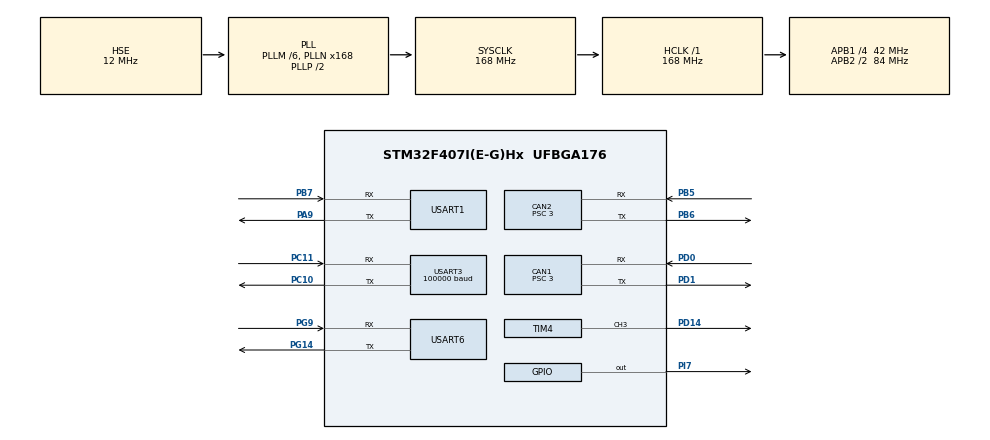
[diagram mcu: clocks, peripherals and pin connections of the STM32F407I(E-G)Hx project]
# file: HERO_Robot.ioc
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CAN1.ABOM=ENABLE
CAN1.BS1=CAN_BS1_5TQ
CAN1.BS2=CAN_BS2_8TQ
CAN1.CalculateBaudRate=1000000
CAN1.CalculateTimeBit=999.99
CAN1.CalculateTimeQuantum=71.42857142857143
CAN1.Prescaler=3
CAN1.RFLM=ENABLE
CAN2.ABOM=ENABLE
CAN2.BS1=CAN_BS1_5TQ
CAN2.BS2=CAN_BS2_8TQ
CAN2.CalculateBaudRate=1000000
CAN2.CalculateTimeBit=999.99
CAN2.CalculateTimeQuantum=71.42857142857143
CAN2.Prescaler=3
CAN2.RFLM=ENABLE
Dma.Request0=USART3_RX
Dma.Request1=USART1_RX
Dma.USART1_RX.1.Direction=DMA_PERIPH_TO_MEMORY
Dma.USART1_RX.1.FIFOMode=DMA_FIFOMODE_DISABLE
Dma.USART1_RX.1.Instance=DMA2_Stream2
Dma.USART1_RX.1.MemDataAlignment=DMA_MDATAALIGN_BYTE
Dma.USART1_RX.1.MemInc=DMA_MINC_ENABLE
Dma.USART1_RX.1.Mode=DMA_CIRCULAR
Dma.USART1_RX.1.PeriphDataAlignment=DMA_PDATAALIGN_BYTE
Dma.USART1_RX.1.PeriphInc=DMA_PINC_DISABLE
Dma.USART1_RX.1.Priority=DMA_PRIORITY_LOW
Dma.USART3_RX.0.Direction=DMA_PERIPH_TO_MEMORY
Dma.USART3_RX.0.FIFOMode=DMA_FIFOMODE_DISABLE
Dma.USART3_RX.0.Instance=DMA1_Stream1
Dma.USART3_RX.0.MemDataAlignment=DMA_MDATAALIGN_BYTE
Dma.USART3_RX.0.MemInc=DMA_MINC_ENABLE
Dma.USART3_RX.0.Mode=DMA_CIRCULAR
Dma.USART3_RX.0.PeriphDataAlignment=DMA_PDATAALIGN_BYTE
Dma.USART3_RX.0.PeriphInc=DMA_PINC_DISABLE
Dma.USART3_RX.0.Priority=DMA_PRIORITY_LOW
Mcu.Family=STM32F4
Mcu.Name=STM32F407I(E-G)Hx
Mcu.Package=UFBGA176
NVIC.CAN1_RX0_IRQn=true\:0\:0\:false\:false\:true\:true\:true
NVIC.CAN2_RX0_IRQn=true\:0\:0\:false\:false\:true\:true\:true
NVIC.DMA1_Stream1_IRQn=true\:0\:0\:false\:false\:true\:false\:true
NVIC.DMA2_Stream2_IRQn=true\:0\:0\:false\:false\:true\:false\:true
NVIC.PriorityGroup=NVIC_PRIORITYGROUP_4
NVIC.TIM2_IRQn=true\:2\:0\:true\:false\:true\:true\:true
NVIC.TIM3_IRQn=true\:1\:0\:true\:false\:true\:true\:true
NVIC.USART1_IRQn=true\:2\:0\:true\:false\:true\:true\:true
NVIC.USART3_IRQn=true\:0\:0\:false\:false\:true\:true\:true
PA9.Mode=Asynchronous
PA9.Signal=USART1_TX
PB5.Mode=CAN_Activate
PB5.Signal=CAN2_RX
PB6.Mode=CAN_Activate
PB6.Signal=CAN2_TX
PB7.Mode=Asynchronous
PB7.Signal=USART1_RX
PC10.Mode=Asynchronous
PC10.Signal=USART3_TX
PC11.Mode=Asynchronous
PC11.Signal=USART3_RX
PD0.Mode=CAN_Activate
PD0.Signal=CAN1_RX
PD1.Mode=CAN_Activate
PD1.Signal=CAN1_TX
PD14.Signal=S_TIM4_CH3
PG14.Mode=Asynchronous
PG14.Signal=USART6_TX
PG9.Mode=Asynchronous
PG9.Signal=USART6_RX
PH0-OSC_IN.Mode=HSE-External-Oscillator
PH0-OSC_IN.Signal=RCC_OSC_IN
PH1-OSC_OUT.Mode=HSE-External-Oscillator
PH1-OSC_OUT.Signal=RCC_OSC_OUT
PI7.Signal=GPIO_Output
ProjectManager.HeapSize=0x200
ProjectManager.StackSize=0x400
ProjectManager.TargetToolchain=MDK-ARM V5.32
RCC.48MHZClocksFreq_Value=84000000
RCC.AHBFreq_Value=168000000
RCC.APB1CLKDivider=RCC_HCLK_DIV4
RCC.APB1Freq_Value=42000000
RCC.APB1TimFreq_Value=84000000
RCC.APB2CLKDivider=RCC_HCLK_DIV2
RCC.APB2Freq_Value=84000000
RCC.APB2TimFreq_Value=168000000
RCC.CortexFreq_Value=168000000
RCC.HCLKFreq_Value=168000000
RCC.HSE_VALUE=12000000
RCC.HSI_VALUE=16000000
RCC.LSE_VALUE=32768
RCC.PLLM=6
RCC.PLLN=168
RCC.PLLSourceVirtual=RCC_PLLSOURCE_HSE
RCC.SYSCLKFreq_VALUE=168000000
RCC.SYSCLKSource=RCC_SYSCLKSOURCE_PLLCLK
RCC.VCOOutputFreq_Value=336000000
SH.S_TIM4_CH3.0=TIM4_CH3,PWM Generation3 CH3
TIM2.Period=2000-1
TIM2.Prescaler=84-1
TIM3.Period=5000-1
TIM3.Prescaler=168-1
TIM4.Channel-PWM\ Generation3\ CH3=TIM_CHANNEL_3
TIM4.Period=250-1
TIM4.Prescaler=84-1
USART1.VirtualMode=VM_ASYNC
USART3.BaudRate=100000
USART3.Parity=PARITY_EVEN
USART3.VirtualMode=VM_ASYNC
USART3.WordLength=WORDLENGTH_9B
USART6.VirtualMode=VM_ASYNC
VP_TIM2_VS_ClockSourceINT.Mode=Internal
VP_TIM3_VS_ClockSourceINT.Mode=Internal
VP_TIM4_VS_ClockSourceINT.Mode=Internal
board=custom

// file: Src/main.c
/* USER CODE BEGIN Header */
/**
  ******************************************************************************
  * @file           : main.c
  * @brief          : Main program body
  ******************************************************************************
  * @attention
  *
  * <h2><center>&copy; Copyright (c) 2022 STMicroelectronics.
  * All rights reserved.</center></h2>
  *
  * This software component is licensed by ST under BSD 3-Clause license,
  * the "License"; You may not use this file except in compliance with the
  * License. You may obtain a copy of the License at:
  *                        opensource.org/licenses/BSD-3-Clause
  *
  ******************************************************************************
  */
/* USER CODE END Header */
#include "main.h"

/* USER CODE BEGIN Includes */
#include "drv_can.h"
#include "drv_usart.h"
#include "oscilloscope.h"
#include "dr16.h"
#include "pid.h"
#include "jy901s.h"
/* USER CODE END Includes */

CAN_HandleTypeDef hcan1;
CAN_HandleTypeDef hcan2;

TIM_HandleTypeDef htim2;
TIM_HandleTypeDef htim3;
TIM_HandleTypeDef htim4;

UART_HandleTypeDef huart1;
UART_HandleTypeDef huart3;
UART_HandleTypeDef huart6;
DMA_HandleTypeDef hdma_usart1_rx;
DMA_HandleTypeDef hdma_usart3_rx;

void SystemClock_Config(void);
static void MX_GPIO_Init(void);
static void MX_DMA_Init(void);
static void MX_CAN1_Init(void);
static void MX_CAN2_Init(void);
static void MX_USART1_UART_Init(void);
static void MX_USART3_UART_Init(void);
static void MX_TIM2_Init(void);
static void MX_TIM3_Init(void);
static void MX_USART6_UART_Init(void);
static void MX_TIM4_Init(void);
/* USER CODE BEGIN PFP */

extern Error_position  chas_angle_error;
extern Error_position  chas_gyro_error;
extern int16_t D_data;
/* USER CODE END PFP */

int main(void)
{

  /* MCU Configuration--------------------------------------------------------*/

  /* Reset of all peripherals, Initializes the Flash interface and the Systick. */
   HAL_Init();

  /* Configure the system clock */
  SystemClock_Config();

  /* Initialize all configured peripherals */
  MX_GPIO_Init();
  MX_DMA_Init();
  MX_CAN1_Init();
  MX_CAN2_Init();
  MX_USART1_UART_Init();
  MX_USART3_UART_Init();
  MX_TIM2_Init();
  MX_TIM3_Init();
  MX_USART6_UART_Init();
  MX_TIM4_Init();

  /* Infinite loop */
  while (1)
  {

    /* USER CODE BEGIN 3 */
		OutData[0] = Mouse_move.y;//位置期望
		OutData[1] = pitch_angle;  //位置反馈
		OutData[2] = pitch_angle_error.Now_out;  //速度期望
		OutData[3] = pitch_speed*6;//速度反馈

//		OutData[0] = yaw_angle;
//		OutData[1] = gyro_exp;
//		OutData[2] = Moto_8.speed;
		OutPut_Data();

  }
  /* USER CODE END 3 */
}

void SystemClock_Config(void)
{
  RCC_OscInitTypeDef RCC_OscInitStruct = {0};
  RCC_ClkInitTypeDef RCC_ClkInitStruct = {0};

  /** Configure the main internal regulator output voltage
  */
  __HAL_RCC_PWR_CLK_ENABLE();
  __HAL_PWR_VOLTAGESCALING_CONFIG(PWR_REGULATOR_VOLTAGE_SCALE1);
  /** Initializes the RCC Oscillators according to the specified parameters
  * in the RCC_OscInitTypeDef structure.
  */
  RCC_OscInitStruct.OscillatorType = RCC_OSCILLATORTYPE_HSE;
  RCC_OscInitStruct.HSEState = RCC_HSE_ON;
  RCC_OscInitStruct.PLL.PLLState = RCC_PLL_ON;
  RCC_OscInitStruct.PLL.PLLSource = RCC_PLLSOURCE_HSE;
  RCC_OscInitStruct.PLL.PLLM = 6;
  RCC_OscInitStruct.PLL.PLLN = 168;
  RCC_OscInitStruct.PLL.PLLP = RCC_PLLP_DIV2;
  RCC_OscInitStruct.PLL.PLLQ = 4;
  if (HAL_RCC_OscConfig(&RCC_OscInitStruct) != HAL_OK)
  {
    Error_Handler();
  }
  /** Initializes the CPU, AHB and APB buses clocks
  */
  RCC_ClkInitStruct.ClockType = RCC_CLOCKTYPE_HCLK|RCC_CLOCKTYPE_SYSCLK
                              |RCC_CLOCKTYPE_PCLK1|RCC_CLOCKTYPE_PCLK2;
  RCC_ClkInitStruct.SYSCLKSource = RCC_SYSCLKSOURCE_PLLCLK;
  RCC_ClkInitStruct.AHBCLKDivider = RCC_SYSCLK_DIV1;
  RCC_ClkInitStruct.APB1CLKDivider = RCC_HCLK_DIV4;
  RCC_ClkInitStruct.APB2CLKDivider = RCC_HCLK_DIV2;

  if (HAL_RCC_ClockConfig(&RCC_ClkInitStruct, FLASH_LATENCY_5) != HAL_OK)
  {
    Error_Handler();
  }
}

static void MX_CAN1_Init(void)
{

  hcan1.Instance = CAN1;
  hcan1.Init.Prescaler = 3;
  hcan1.Init.Mode = CAN_MODE_NORMAL;
  hcan1.Init.SyncJumpWidth = CAN_SJW_1TQ;
  hcan1.Init.TimeSeg1 = CAN_BS1_5TQ;
  hcan1.Init.TimeSeg2 = CAN_BS2_8TQ;
  hcan1.Init.TimeTriggeredMode = DISABLE;
  hcan1.Init.AutoBusOff = ENABLE;
  hcan1.Init.AutoWakeUp = DISABLE;
  hcan1.Init.AutoRetransmission = DISABLE;
  hcan1.Init.ReceiveFifoLocked = ENABLE;
  hcan1.Init.TransmitFifoPriority = DISABLE;
  if (HAL_CAN_Init(&hcan1) != HAL_OK)
  {
    Error_Handler();
  }

}

static void MX_CAN2_Init(void)
{

  hcan2.Instance = CAN2;
  hcan2.Init.Prescaler = 3;
  hcan2.Init.Mode = CAN_MODE_NORMAL;
  hcan2.Init.SyncJumpWidth = CAN_SJW_1TQ;
  hcan2.Init.TimeSeg1 = CAN_BS1_5TQ;
  hcan2.Init.TimeSeg2 = CAN_BS2_8TQ;
  hcan2.Init.TimeTriggeredMode = DISABLE;
  hcan2.Init.AutoBusOff = ENABLE;
  hcan2.Init.AutoWakeUp = DISABLE;
  hcan2.Init.AutoRetransmission = DISABLE;
  hcan2.Init.ReceiveFifoLocked = ENABLE;
  hcan2.Init.TransmitFifoPriority = DISABLE;
  if (HAL_CAN_Init(&hcan2) != HAL_OK)
  {
    Error_Handler();
  }
  /* USER CODE BEGIN CAN2_Init 2 */
	Can_Init();
  /* USER CODE END CAN2_Init 2 */

}

static void MX_TIM2_Init(void)
{

  TIM_ClockConfigTypeDef sClockSourceConfig = {0};
  TIM_MasterConfigTypeDef sMasterConfig = {0};

  htim2.Instance = TIM2;
  htim2.Init.Prescaler = 84-1;
  htim2.Init.CounterMode = TIM_COUNTERMODE_UP;
  htim2.Init.Period = 2000-1;
  htim2.Init.ClockDivision = TIM_CLOCKDIVISION_DIV1;
  htim2.Init.AutoReloadPreload = TIM_AUTORELOAD_PRELOAD_DISABLE;
  if (HAL_TIM_Base_Init(&htim2) != HAL_OK)
  {
    Error_Handler();
  }
  sClockSourceConfig.ClockSource = TIM_CLOCKSOURCE_INTERNAL;
  if (HAL_TIM_ConfigClockSource(&htim2, &sClockSourceConfig) != HAL_OK)
  {
    Error_Handler();
  }
  sMasterConfig.MasterOutputTrigger = TIM_TRGO_RESET;
  sMasterConfig.MasterSlaveMode = TIM_MASTERSLAVEMODE_DISABLE;
  if (HAL_TIMEx_MasterConfigSynchronization(&htim2, &sMasterConfig) != HAL_OK)
  {
    Error_Handler();
  }
  /* USER CODE BEGIN TIM2_Init 2 */
	HAL_TIM_Base_Start_IT(&htim2);
  /* USER CODE END TIM2_Init 2 */

}

static void MX_TIM3_Init(void)
{

  TIM_ClockConfigTypeDef sClockSourceConfig = {0};
  TIM_MasterConfigTypeDef sMasterConfig = {0};

  htim3.Instance = TIM3;
  htim3.Init.Prescaler = 84-1;
  htim3.Init.CounterMode = TIM_COUNTERMODE_UP;
  htim3.Init.Period = 5000-1;
  htim3.Init.ClockDivision = TIM_CLOCKDIVISION_DIV1;
  htim3.Init.AutoReloadPreload = TIM_AUTORELOAD_PRELOAD_DISABLE;
  if (HAL_TIM_Base_Init(&htim3) != HAL_OK)
  {
    Error_Handler();
  }
  sClockSourceConfig.ClockSource = TIM_CLOCKSOURCE_INTERNAL;
  if (HAL_TIM_ConfigClockSource(&htim3, &sClockSourceConfig) != HAL_OK)
  {
    Error_Handler();
  }
  sMasterConfig.MasterOutputTrigger = TIM_TRGO_RESET;
  sMasterConfig.MasterSlaveMode = TIM_MASTERSLAVEMODE_DISABLE;
  if (HAL_TIMEx_MasterConfigSynchronization(&htim3, &sMasterConfig) != HAL_OK)
  {
    Error_Handler();
  }
  /* USER CODE BEGIN TIM3_Init 2 */
	HAL_TIM_Base_Start_IT(&htim3);
  /* USER CODE END TIM3_Init 2 */

}

static void MX_TIM4_Init(void)
{

  TIM_ClockConfigTypeDef sClockSourceConfig = {0};
  TIM_MasterConfigTypeDef sMasterConfig = {0};
  TIM_OC_InitTypeDef sConfigOC = {0};

  htim4.Instance = TIM4;
  htim4.Init.Prescaler = 84-1;
  htim4.Init.CounterMode = TIM_COUNTERMODE_UP;
  htim4.Init.Period = 250-1;
  htim4.Init.ClockDivision = TIM_CLOCKDIVISION_DIV1;
  htim4.Init.AutoReloadPreload = TIM_AUTORELOAD_PRELOAD_DISABLE;
  if (HAL_TIM_Base_Init(&htim4) != HAL_OK)
  {
    Error_Handler();
  }
  sClockSourceConfig.ClockSource = TIM_CLOCKSOURCE_INTERNAL;
  if (HAL_TIM_ConfigClockSource(&htim4, &sClockSourceConfig) != HAL_OK)
  {
    Error_Handler();
  }
  if (HAL_TIM_PWM_Init(&htim4) != HAL_OK)
  {
    Error_Handler();
  }
  sMasterConfig.MasterOutputTrigger = TIM_TRGO_RESET;
  sMasterConfig.MasterSlaveMode = TIM_MASTERSLAVEMODE_DISABLE;
  if (HAL_TIMEx_MasterConfigSynchronization(&htim4, &sMasterConfig) != HAL_OK)
  {
    Error_Handler();
  }
  sConfigOC.OCMode = TIM_OCMODE_PWM1;
  sConfigOC.Pulse = 0;
  sConfigOC.OCPolarity = TIM_OCPOLARITY_HIGH;
  sConfigOC.OCFastMode = TIM_OCFAST_DISABLE;
  if (HAL_TIM_PWM_ConfigChannel(&htim4, &sConfigOC, TIM_CHANNEL_3) != HAL_OK)
  {
    Error_Handler();
  }
  /* USER CODE BEGIN TIM4_Init 2 */
	HAL_TIM_PWM_Start(&htim4,TIM_CHANNEL_3);
  /* USER CODE END TIM4_Init 2 */
  HAL_TIM_MspPostInit(&htim4);

}

static void MX_USART1_UART_Init(void)
{

  huart1.Instance = USART1;
  huart1.Init.BaudRate = 115200;
  huart1.Init.WordLength = UART_WORDLENGTH_8B;
  huart1.Init.StopBits = UART_STOPBITS_1;
  huart1.Init.Parity = UART_PARITY_NONE;
  huart1.Init.Mode = UART_MODE_TX_RX;
  huart1.Init.HwFlowCtl = UART_HWCONTROL_NONE;
  huart1.Init.OverSampling = UART_OVERSAMPLING_16;
  if (HAL_UART_Init(&huart1) != HAL_OK)
  {
    Error_Handler();
  }
  /* USER CODE BEGIN USART1_Init 2 */
	JY901_Init();
  /* USER CODE END USART1_Init 2 */

}

static void MX_USART3_UART_Init(void)
{

  huart3.Instance = USART3;
  huart3.Init.BaudRate = 100000;
  huart3.Init.WordLength = UART_WORDLENGTH_9B;
  huart3.Init.StopBits = UART_STOPBITS_1;
  huart3.Init.Parity = UART_PARITY_EVEN;
  huart3.Init.Mode = UART_MODE_TX_RX;
  huart3.Init.HwFlowCtl = UART_HWCONTROL_NONE;
  huart3.Init.OverSampling = UART_OVERSAMPLING_16;
  if (HAL_UART_Init(&huart3) != HAL_OK)
  {
    Error_Handler();
  }
  /* USER CODE BEGIN USART3_Init 2 */
	RC_Init();
  /* USER CODE END USART3_Init 2 */

}

static void MX_USART6_UART_Init(void)
{

  huart6.Instance = USART6;
  huart6.Init.BaudRate = 115200;
  huart6.Init.WordLength = UART_WORDLENGTH_8B;
  huart6.Init.StopBits = UART_STOPBITS_1;
  huart6.Init.Parity = UART_PARITY_NONE;
  huart6.Init.Mode = UART_MODE_TX_RX;
  huart6.Init.HwFlowCtl = UART_HWCONTROL_NONE;
  huart6.Init.OverSampling = UART_OVERSAMPLING_16;
  if (HAL_UART_Init(&huart6) != HAL_OK)
  {
    Error_Handler();
  }

}

static void MX_DMA_Init(void)
{

  /* DMA controller clock enable */
  __HAL_RCC_DMA1_CLK_ENABLE();
  __HAL_RCC_DMA2_CLK_ENABLE();

  /* DMA interrupt init */
  /* DMA1_Stream1_IRQn interrupt configuration */
  HAL_NVIC_SetPriority(DMA1_Stream1_IRQn, 0, 0);
  HAL_NVIC_EnableIRQ(DMA1_Stream1_IRQn);
  /* DMA2_Stream2_IRQn interrupt configuration */
  HAL_NVIC_SetPriority(DMA2_Stream2_IRQn, 0, 0);
  HAL_NVIC_EnableIRQ(DMA2_Stream2_IRQn);

}

static void MX_GPIO_Init(void)
{
  GPIO_InitTypeDef GPIO_InitStruct = {0};

  /* GPIO Ports Clock Enable */
  __HAL_RCC_GPIOB_CLK_ENABLE();
  __HAL_RCC_GPIOG_CLK_ENABLE();
  __HAL_RCC_GPIOD_CLK_ENABLE();
  __HAL_RCC_GPIOC_CLK_ENABLE();
  __HAL_RCC_GPIOI_CLK_ENABLE();
  __HAL_RCC_GPIOA_CLK_ENABLE();
  __HAL_RCC_GPIOH_CLK_ENABLE();

  /*Configure GPIO pin Output Level */
  HAL_GPIO_WritePin(GPIOI, GPIO_PIN_7, GPIO_PIN_RESET);

  /*Configure GPIO pin : PI7 */
  GPIO_InitStruct.Pin = GPIO_PIN_7;
  GPIO_InitStruct.Mode = GPIO_MODE_OUTPUT_PP;
  GPIO_InitStruct.Pull = GPIO_NOPULL;
  GPIO_InitStruct.Speed = GPIO_SPEED_FREQ_LOW;
  HAL_GPIO_Init(GPIOI, &GPIO_InitStruct);

}

void Error_Handler(void)
{
  __disable_irq();
  while (1)
  {
  }
}

/************************ (C) COPYRIGHT STMicroelectronics *****END OF FILE****/
